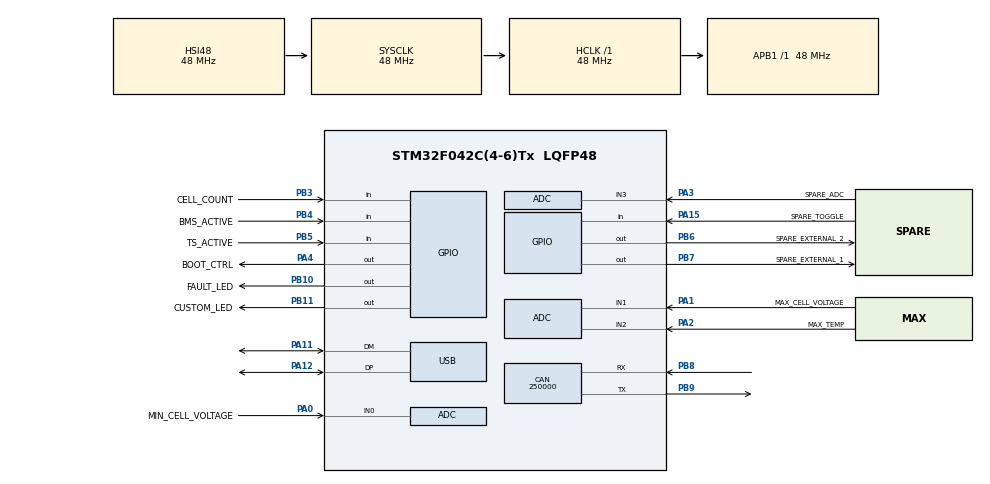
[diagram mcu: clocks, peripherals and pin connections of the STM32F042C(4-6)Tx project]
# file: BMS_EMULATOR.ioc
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CAN.BS1=CAN_BS1_10TQ
CAN.CalculateBaudRate=250000
CAN.CalculateTimeBit=4000
CAN.CalculateTimeQuantum=333.3333333333333
Mcu.Family=STM32F0
Mcu.Name=STM32F042C(4-6)Tx
Mcu.Package=LQFP48
NVIC.ADC1_IRQn=true\:0\:0\:false\:false\:true\:true\:true\:true
NVIC.TIM2_IRQn=true\:0\:0\:false\:false\:true\:true\:true\:true
PA0.GPIO_Label=MIN_CELL_VOLTAGE
PA0.Mode=IN0
PA0.Signal=ADC_IN0
PA1.GPIO_Label=MAX_CELL_VOLTAGE
PA1.Mode=IN1
PA1.Signal=ADC_IN1
PA11.Mode=Device
PA11.Signal=USB_DM
PA12.Mode=Device
PA12.Signal=USB_DP
PA13.Mode=Serial_Wire
PA13.Signal=SYS_SWDIO
PA14.Mode=Serial_Wire
PA14.Signal=SYS_SWCLK
PA15.GPIO_Label=SPARE_TOGGLE
PA15.Signal=GPIO_Input
PA2.GPIO_Label=MAX_TEMP
PA2.Mode=IN2
PA2.Signal=ADC_IN2
PA3.GPIO_Label=SPARE_ADC
PA3.Mode=IN3
PA3.Signal=ADC_IN3
PA4.GPIO_Label=BOOT_CTRL
PA4.Signal=GPIO_Output
PB10.GPIO_Label=FAULT_LED
PB10.Signal=GPIO_Output
PB11.GPIO_Label=CUSTOM_LED
PB11.Signal=GPIO_Output
PB3.GPIO_Label=CELL_COUNT
PB3.Signal=GPIO_Input
PB4.GPIO_Label=BMS_ACTIVE
PB4.Signal=GPIO_Input
PB5.GPIO_Label=TS_ACTIVE
PB5.GPIO_PuPd=GPIO_PULLDOWN
PB5.Signal=GPIO_Input
PB6.GPIO_Label=SPARE_EXTERNAL_2
PB6.Signal=GPIO_Output
PB7.GPIO_Label=SPARE_EXTERNAL_1
PB7.Signal=GPIO_Output
PB8.Mode=CAN_Activate
PB8.Signal=CAN_RX
PB9.Mode=CAN_Activate
PB9.Signal=CAN_TX
ProjectManager.HeapSize=0x200
ProjectManager.StackSize=0x400
ProjectManager.TargetToolchain=STM32CubeIDE
RCC.AHBFreq_Value=48000000
RCC.APB1Freq_Value=48000000
RCC.APB1TimFreq_Value=48000000
RCC.HCLKFreq_Value=48000000
RCC.SYSCLKFreq_VALUE=48000000
RCC.SYSCLKSource=RCC_SYSCLKSOURCE_HSI48
TIM2.AutoReloadPreload=TIM_AUTORELOAD_PRELOAD_DISABLE
TIM2.ClockDivision=TIM_CLOCKDIVISION_DIV1
TIM2.Period=16000
TIM2.Prescaler=20
VP_ADC_TempSens_Input.Mode=IN-TempSens
VP_ADC_Vbat_Input.Mode=IN-Vbat
VP_TIM2_VS_ClockSourceINT.Mode=Internal
board=custom

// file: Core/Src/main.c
/* USER CODE BEGIN Header */
/**
 ******************************************************************************
 * @file           : main.c
 * @brief          : Main program body
 ******************************************************************************
 * @attention
 *
 * Copyright (c) 2023 STMicroelectronics.
 * All rights reserved.
 *
 * This software is licensed under terms that can be found in the LICENSE file
 * in the root directory of this software component.
 * If no LICENSE file comes with this software, it is provided AS-IS.
 *
 ******************************************************************************
 */
/* USER CODE END Header */
#include "main.h"
#include "adc.h"
#include "can.h"
#include "tim.h"
#include "usb.h"
#include "gpio.h"

/* USER CODE BEGIN Includes */
#include <emulatedBMSStatus.h>
/* USER CODE END Includes */

/* USER CODE BEGIN PV */

// CAN
uint32_t Tx_mailbox;

CAN_TxHeaderTypeDef TxHeaderTSActive;

CAN_TxHeaderTypeDef TxHeaderBmsDataPack0;
CAN_TxHeaderTypeDef TxHeaderBmsDataPack1;
CAN_TxHeaderTypeDef TxHeaderBmsDataPack2;
CAN_TxHeaderTypeDef TxHeaderBmsDataPack3;
CAN_TxHeaderTypeDef TxHeaderBmsDataPack4;
CAN_TxHeaderTypeDef TxHeaderBmsDataPack5;
CAN_TxHeaderTypeDef TxHeaderMotecKeepalive;

CAN_TxHeaderTypeDef TxHeaderTemBMSBroadcast;
CAN_TxHeaderTypeDef TxHeaderTemGenBroadcast;

EmulatedBMSStatus bmsStatus;
bool is_isr_active();
/* USER CODE END PV */

void SystemClock_Config(void);

int main(void)
{
  /* USER CODE BEGIN 1 */
  bmsStatus.maxCellVoltage = 40000; // 4V
  bmsStatus.AvgCellVoltage = 40000; // 4V
  bmsStatus.minCellVoltage = 40000; // 4V
  bmsStatus.RollingCounter = 123;

  bmsStatus.LowTemperature = 23;
  bmsStatus.HighTemperature = 30;

  bmsStatus.NumCells = 120;
  /* USER CODE END 1 */

  /* MCU Configuration--------------------------------------------------------*/

  /* Reset of all peripherals, Initializes the Flash interface and the Systick. */
  HAL_Init();

  /* Configure the system clock */
  SystemClock_Config();

  /* Initialize all configured peripherals */
  MX_GPIO_Init();
  MX_ADC_Init();
  MX_CAN_Init();
  MX_USB_PCD_Init();
  MX_TIM2_Init();
  /* USER CODE BEGIN 2 */
	// Enable CAN TX notification for all mailboxes
  /* USER CODE END 2 */

  /* Infinite loop */
	while (1) {

	}
}

void SystemClock_Config(void)
{
  RCC_OscInitTypeDef RCC_OscInitStruct = {0};
  RCC_ClkInitTypeDef RCC_ClkInitStruct = {0};
  RCC_PeriphCLKInitTypeDef PeriphClkInit = {0};

  /** Initializes the RCC Oscillators according to the specified parameters
  * in the RCC_OscInitTypeDef structure.
  */
  RCC_OscInitStruct.OscillatorType = RCC_OSCILLATORTYPE_HSI14|RCC_OSCILLATORTYPE_HSI48;
  RCC_OscInitStruct.HSI48State = RCC_HSI48_ON;
  RCC_OscInitStruct.HSI14State = RCC_HSI14_ON;
  RCC_OscInitStruct.HSI14CalibrationValue = 16;
  RCC_OscInitStruct.PLL.PLLState = RCC_PLL_NONE;
  if (HAL_RCC_OscConfig(&RCC_OscInitStruct) != HAL_OK)
  {
    Error_Handler();
  }

  /** Initializes the CPU, AHB and APB buses clocks
  */
  RCC_ClkInitStruct.ClockType = RCC_CLOCKTYPE_HCLK|RCC_CLOCKTYPE_SYSCLK
                              |RCC_CLOCKTYPE_PCLK1;
  RCC_ClkInitStruct.SYSCLKSource = RCC_SYSCLKSOURCE_HSI48;
  RCC_ClkInitStruct.AHBCLKDivider = RCC_SYSCLK_DIV1;
  RCC_ClkInitStruct.APB1CLKDivider = RCC_HCLK_DIV1;

  if (HAL_RCC_ClockConfig(&RCC_ClkInitStruct, FLASH_LATENCY_1) != HAL_OK)
  {
    Error_Handler();
  }
  PeriphClkInit.PeriphClockSelection = RCC_PERIPHCLK_USB;
  PeriphClkInit.UsbClockSelection = RCC_USBCLKSOURCE_HSI48;

  if (HAL_RCCEx_PeriphCLKConfig(&PeriphClkInit) != HAL_OK)
  {
    Error_Handler();
  }
}

void Error_Handler(void)
{
  /* USER CODE BEGIN Error_Handler_Debug */
	/* User can add his own implementation to report the HAL error return state */
	__disable_irq();

	while (1) {
		// flash fault pin high on error
		HAL_GPIO_TogglePin(FAULT_LED_GPIO_Port, FAULT_LED_Pin);
		for (uint32_t i = 0; i < 0xFFFFF; i++){
			 // about 1Hz
		}
	}
  /* USER CODE END Error_Handler_Debug */
}
